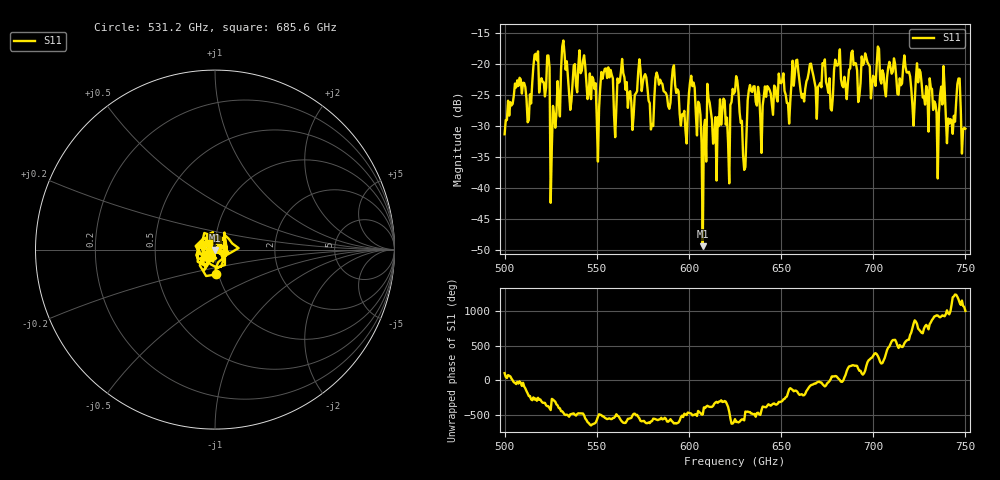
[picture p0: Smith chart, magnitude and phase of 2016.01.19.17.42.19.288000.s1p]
!Created with skrf (http://scikit-rf.org).
# GHz S RI R 50.0
!freq ReS11 ImS11
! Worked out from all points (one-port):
!   401 points, 500 GHz to 750 GHz, reference 50 ohm
!   lowest |S11| = -49.3 dB at 607.5 GHz (marker M1), VSWR 1.01, Z = 49.8 - j0.237 ohm
!   |S11| at or under -10 dB: start of sweep to end of sweep
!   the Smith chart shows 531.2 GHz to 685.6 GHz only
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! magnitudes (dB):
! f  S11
! 500 GHz  -31.3
! 506.9 GHz  -22.6
! 513.1 GHz  -29.0
! 516.9 GHz  -18.3
! 523.1 GHz  -18.6
! 526.2 GHz  -26.7
! 531.2 GHz  -17.2
! 535.6 GHz  -27.4
! 541.9 GHz  -21.0
! 550 GHz  -28.7
! 562.5 GHz  -22.8
! 579.4 GHz  -30.5
! 583.1 GHz  -22.0
! 593.8 GHz  -24.1
! 598.1 GHz  -30.7
! 601.9 GHz  -23.5
! 607.5 GHz  -49.3
! 611.2 GHz  -26.2
! 621.2 GHz  -32.6
! 625 GHz  -24.4
! 630 GHz  -37.0
! 633.8 GHz  -24.3
! 656.2 GHz  -19.4
! 687.5 GHz  -20.7
! 718.8 GHz  -21.4
! 734.4 GHz  -27.9
! 746.2 GHz  -22.3
! 750 GHz  -30.4
